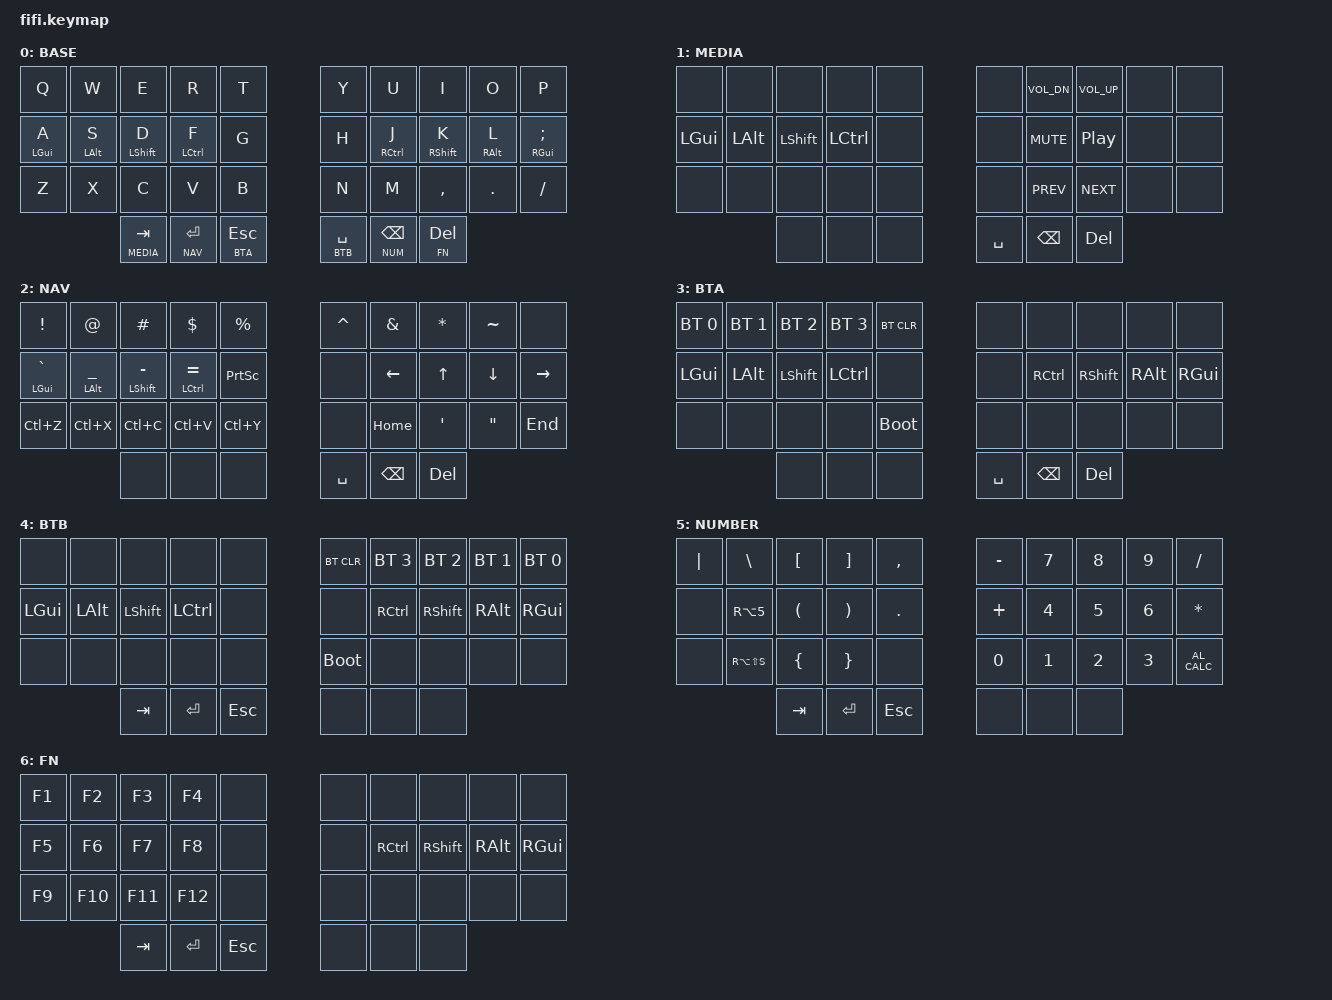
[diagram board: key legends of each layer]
#include <behaviors.dtsi>
#include <dt-bindings/zmk/bt.h>
#include <dt-bindings/zmk/keys.h>
#include <dt-bindings/zmk/matrix_transform.h>
#include <dt-bindings/zmk/outputs.h>

#define BASE 0
#define MEDIA 1
#define NAV 2
#define BTA 3
#define BTB 4
#define NUM 5
#define FN 6

&lt {
    tapping-term-ms = <180>;
};

/ {
    behaviors {
      hm: homerow_mods {
          compatible = "zmk,behavior-hold-tap";
          label = "HOMEROW_MODS";
          #binding-cells = <2>;
          tapping-term-ms = <150>;
          quick_tap_ms = <0>;
          flavor = "tap-preferred";
          bindings = <&kp>, <&kp>;
      };
      hl: homerow_mods_longer {
          compatible = "zmk,behavior-hold-tap";
          label = "HOMEROW_MODS_LONGER"; 
          #binding-cells = <2>;
          tapping-term-ms = <250>;
          quick-tap-ms = <0>;
          flavor = "tap-preferred";
          bindings = <&kp>, <&kp>;
      };
    };

    keymap {

        compatible = "zmk,keymap";

        base_layer {
            label = "BASE";
            bindings = <
                &kp Q           &kp W           &kp E           &kp R           &kp T           &kp Y           &kp U           &kp I           &kp O           &kp P
                &hm LGUI A      &hm LALT S      &hm LSHFT D     &hm LCTRL F     &kp G           &kp H           &hm RCTRL J     &hm RSHFT K     &hm RALT L      &hm RGUI SEMI
                &kp Z           &kp X           &kp C           &kp V           &kp B           &kp N           &kp M           &kp COMMA       &kp DOT         &kp FSLH
                                                &lt MEDIA TAB   &lt NAV RET     &lt BTA ESC     &lt BTB SPACE   &lt NUM BSPC    &lt FN DEL
            >;
        };

        media_layer {
            label = "MEDIA";
            bindings = <
                &none           &none           &none           &none           &none           &none           &kp C_VOL_DN    &kp C_VOL_UP    &none           &none
                &kp LGUI        &kp LALT        &kp LSHFT       &kp LCTRL       &none           &none           &kp C_MUTE      &kp C_PP        &none           &none
                &none           &none           &none           &none           &none           &none           &kp C_PREV      &kp C_NEXT      &none           &none
                                                &none           &none           &none           &kp SPACE       &kp BSPC        &kp DEL
            >;
        };

        nav_layer {
            label = "NAV";
            bindings = <
                &kp EXCL        &kp AT          &kp HASH        &kp DLLR        &kp PRCNT       &kp CARET       &kp AMPS        &kp STAR        &kp TILDE       &none
                &hm LGUI GRAVE  &hm LALT UNDER  &hm LSHFT MINUS &hm LCTRL EQUAL &kp PSCRN       &none           &kp LEFT        &kp UP          &kp DOWN        &kp RIGHT
                &kp LC(Z)       &kp LC(X)       &kp LC(C)       &kp LC(V)       &kp LC(Y)       &none           &kp HOME        &kp SQT         &kp DQT         &kp END
                                                &none           &none           &none           &kp SPACE       &kp BSPC        &kp DEL
            >;
        };

        bta_layer {
            label = "BTA";
            bindings = <
                &bt BT_SEL 0    &bt BT_SEL 1    &bt BT_SEL 2    &bt BT_SEL 3    &bt BT_CLR      &none           &none           &none           &none           &none
                &kp LGUI        &kp LALT        &kp LSHFT       &kp LCTRL       &none           &none           &kp RCTRL       &kp RSHFT       &kp RALT        &kp RGUI
                &none           &none           &none           &none           &bootloader     &none           &none           &none           &none           &none
                                                &none           &none           &none           &kp SPACE       &kp BSPC        &kp DEL
            >;
        };

        btb_layer {
            label = "BTB";
            bindings = <
                &none           &none           &none           &none           &none           &bt BT_CLR      &bt BT_SEL 3    &bt BT_SEL 2    &bt BT_SEL 1    &bt BT_SEL 0
                &kp LGUI        &kp LALT        &kp LSHFT       &kp LCTRL       &none           &none           &kp RCTRL       &kp RSHFT       &kp RALT        &kp RGUI
                &none           &none           &none           &none           &none           &bootloader     &none           &none           &none           &none
                                                &kp TAB         &kp RET         &kp ESC         &none           &none           &none
            >;
        };

        num_layer {
            label = "NUMBER";
            bindings = <
                &kp PIPE        &kp BACKSLASH   &kp LBKT        &kp RBKT        &kp COMMA       &kp MINUS       &kp N7          &kp N8          &kp N9          &kp SLASH
                &none           &kp RA(N5)      &kp LPAR        &kp RPAR        &kp DOT         &kp PLUS        &kp N4          &kp N5          &kp N6          &kp STAR
                &none           &kp RA(LS(S))   &kp LBRC        &kp RBRC        &none           &kp N0          &kp N1          &kp N2          &kp N3          &kp C_AL_CALC
                                                &kp TAB         &kp RET         &kp ESC         &none           &none           &none
            >;
        };

        fn_layer {
            label = "FN";
            bindings = <
                &kp F1          &kp F2          &kp F3          &kp F4          &none           &none           &none           &none           &none           &none
                &kp F5          &kp F6          &kp F7          &kp F8          &none           &none           &kp RCTRL       &kp RSHFT       &kp RALT        &kp RGUI
                &kp F9          &kp F10         &kp F11         &kp F12         &none           &none           &none           &none           &none           &none
                                                &kp TAB         &kp RET         &kp ESC         &none           &none           &none
            >;
        };

    };
};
